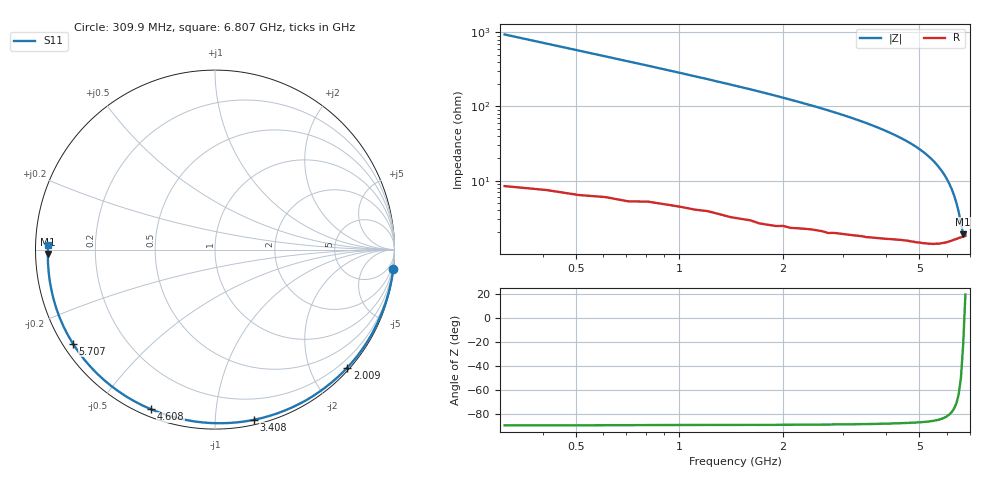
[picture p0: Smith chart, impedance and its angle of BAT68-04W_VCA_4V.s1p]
! Infineon Technologies  Discrete & RF Semiconductors
! BAT68-04W
! VCA = 4 V
! One-Port S-Parameters
# Hz  S  MA  R  50
!f  S11
!Hz  Mag  Ang
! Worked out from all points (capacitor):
!   66 points, 309.9 MHz to 6.807 GHz, reference 50 ohm
!   read as one part to ground: C = 548 fF near 309.9 MHz
!   lowest |Z| = 1.9 ohm at 6.707 GHz (marker M1)
!   series resonance near 6.759 GHz, so ESL is about 1 nH
!   S11 on the Smith chart (normalised r, x): 309.9 MHz: 0, -19; 2.009 GHz: 0.05, -2.62; 3.408 GHz: 0.04, -1.25; 4.608 GHz: 0.03, -0.68; 5.707 GHz: 0.03, -0.30; 6.807 GHz: 0.04, +0.01
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3.0985e8  0.999 -6.1
7.0965e8  0.9969 -14.0
1.0095e9  0.9946 -20.1
1.2094e9  0.9932 -24.2
1.6092e9  0.9908 -32.7
1.8091e9  0.9897 -37.1
2.009e9  0.9876 -41.7
2.2089e9  0.9859 -46.4
2.4088e9  0.9836 -51.3
2.8086e9  0.9797 -61.3
3.10845e9  0.9762 -69.1
3.4083e9  0.9727 -77.2
3.6082e9  0.9704 -82.8
3.8081e9  0.9679 -88.4
4.008e9  0.9654 -94.2
4.2079e9  0.9627 -100.0
4.4078e9  0.9603 -105.9
4.6077e9  0.9582 -111.9
4.90755e9  0.9564 -121.0
5.2074e9  0.954 -130.4
5.50725e9  0.9517 -140.0
5.70715e9  0.9495 -146.5
5.90705e9  0.9465 -153.1
6.007e9  0.9449 -156.3
6.2069e9  0.9411 -162.8
6.4068e9  0.9374 -169.1
6.70665e9  0.932 -178.4
6.8066e9  0.9304 178.5
